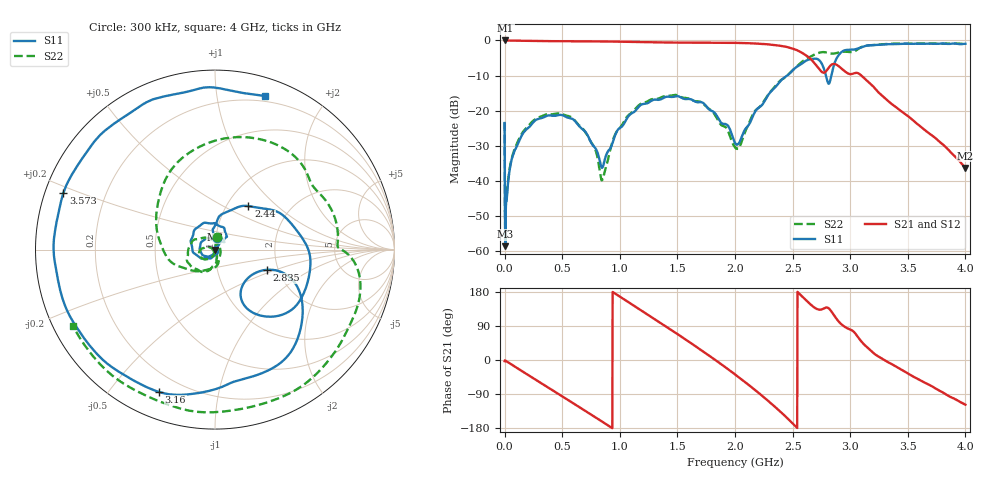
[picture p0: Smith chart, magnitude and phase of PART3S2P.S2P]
!Agilent Technologies,E5071C,MY46106184,A.09.10
!Date: Mon Jan 01 01:10:03 2001
!Data & Calibration Information:
!Freq	S11:SOLT2(ON)	S21:SOLT2(ON)	S12:SOLT2(ON)	S22:SOLT2(ON)
# Hz S dB R 50
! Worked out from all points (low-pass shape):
!   1601 points, 300 kHz to 4 GHz, reference 50 ohm
!   highest |S21| = 0.01 dB at 5.3 MHz (marker M1); lowest = -36.3 dB at 4 GHz (marker M2)
!   |S21| within 3 dB of the highest: start of sweep to 2.553 GHz
!   lowest |S11| = -58.5 dB at 7.799 MHz (marker M3), VSWR 1.00, Z = 50.1 - j0.0399 ohm
!   |S11| at or under -10 dB: start of sweep to 2.453 GHz; 2.79 GHz to 2.836 GHz (46.3 MHz wide, 1.65 % of centre)
!   |S22| runs from -54.9 to -0.8 dB; largest |S21 - S12| = 0.0026
!   S11 on the Smith chart (normalised r, x): 300 kHz: 1.01, +0.13; 2.44 GHz: 1.26, +0.67; 2.835 GHz: 1.75, -0.44; 3.16 GHz: 0.12, -0.68; 3.573 GHz: 0.05, +0.18; 4 GHz: 0.15, +1.37
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300000  -23.47 81.9  -0.10 -3.2  -0.12 -3.1  -23.23 81.1
5299625  -56.92 37.0  0.01 -1.2  0.00 -1.2  -53.73 26.4
7799438  -58.50 -19.6  -0.00 -1.7  0.00 -1.7  -54.91 -31.9
2.279831e7  -43.38 -89.8  -0.02 -4.5  -0.02 -4.5  -42.35 -80.7
8.529362e7  -31.53 -110.1  -0.05 -16.7  -0.05 -16.7  -30.99 -103.5
2.752794e8  -22.53 -155.2  -0.14 -53.1  -0.14 -53.1  -22.21 -135.2
6.677499e8  -25.01 102.1  -0.24 -128.0  -0.24 -128.0  -24.70 168.4
8.502362e8  -36.10 -8.0  -0.28 -163.3  -0.28 -163.3  -39.59 -142.3
1.057721e9  -22.42 -140.1  -0.37 156.1  -0.37 156.0  -21.91 -88.5
1.3352e9  -16.89 152.3  -0.54 101.4  -0.54 101.4  -16.54 -133.0
1.717671e9  -17.65 67.0  -0.64 23.8  -0.64 23.7  -17.78 154.9
2.00015e9  -29.14 51.0  -0.68 -37.9  -0.68 -38.0  -30.32 46.5
2.225133e9  -18.65 95.0  -0.94 -91.8  -0.93 -91.8  -18.50 -110.5
2.440117e9  -10.30 52.5  -1.77 -149.4  -1.76 -149.4  -10.34 173.8
2.6676e9  -5.26 -17.5  -5.63 143.5  -5.61 143.4  -4.34 90.1
2.835087e9  -10.13 -21.1  -6.95 129.0  -6.93 128.8  -3.73 34.7
2.922581e9  -3.35 -47.7  -7.94 94.6  -7.93 94.4  -3.28 18.9
3.160063e9  -1.39 -111.4  -11.87 30.1  -11.85 29.9  -1.38 -20.9
3.33505e9  -1.05 -152.1  -17.39 -6.8  -17.38 -7.1  -0.95 -52.6
3.572532e9  -0.90 159.4  -23.46 -47.7  -23.46 -48.0  -0.88 -88.0
3.792516e9  -0.87 115.3  -29.27 -83.8  -29.27 -84.0  -0.91 -119.3
4e9  -0.93 71.8  -36.29 -118.0  -36.29 -117.9  -0.93 -151.6
